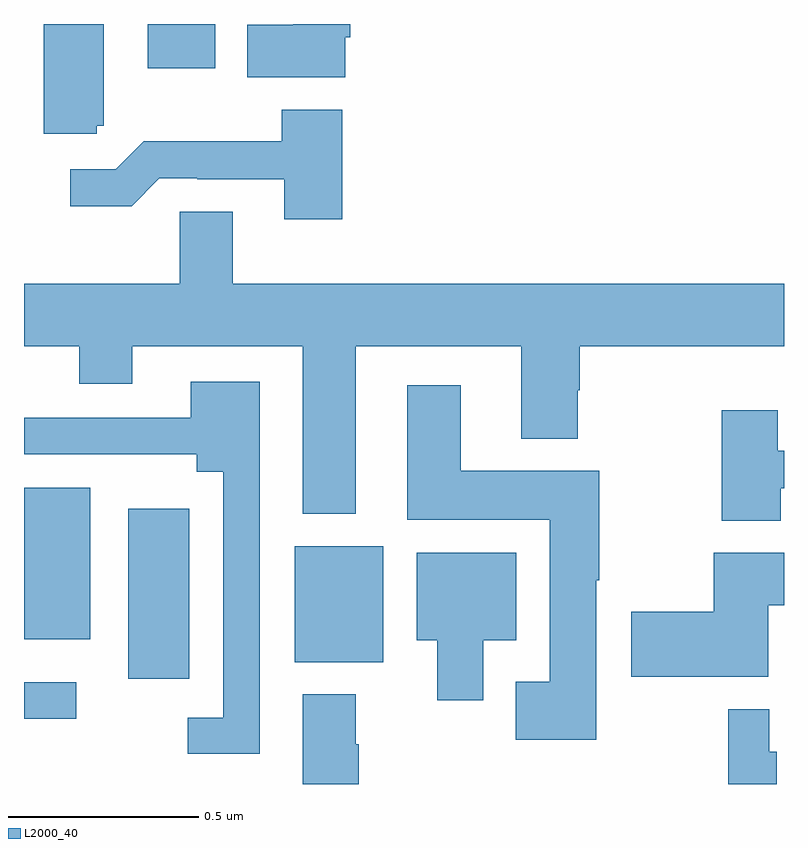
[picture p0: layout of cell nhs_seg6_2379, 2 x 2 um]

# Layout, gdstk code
import gdstk
lib = gdstk.Library(unit=1e-6, precision=1e-09)
def R(c, l, rs):  # rectangles x0, y0, x1, y1
    for r in rs: c.add(gdstk.rectangle(r[:2], r[2:], *l))
def P(c, l, *ps):  # polygons
    for p in ps: c.add(gdstk.Polygon(p, *l))
L2000_40 = (2000, 40)

nhs_seg6_2379 = lib.new_cell('nhs_seg6_2379')
R(nhs_seg6_2379, L2000_40, [(142,963.672,142.138,963.768), (142.274,963.777,142.435,964.225), (142.712,963.821,142.945,964.126), (142,963.881,142.174,964.279), (142.326,965.384,142.503,965.5)])
P(nhs_seg6_2379, L2000_40, [(142.846,965.465),(142.859,965.465),(142.859,965.5),(142.709,965.5),(142.709,965.498),(142.588,965.498),(142.588,965.36),(142.846,965.36)],
  [(142.191,965.232),(142.21,965.232),(142.21,965.5),(142.052,965.5),(142.052,965.211),(142.191,965.211)],
  [(142.838,965.275),(142.678,965.275),(142.678,965.191),(142.315,965.191),(142.242,965.118),(142.122,965.118),(142.122,965.021),(142.283,965.021),(142.356,965.094),(142.456,965.094),(142.456,965.091),(142.685,965.091),(142.685,964.986),(142.838,964.986)],
  [(142.873,964.652),(143.309,964.652),(143.309,964.409),(143.457,964.409),(143.457,964.536),(143.462,964.536),(143.462,964.652),(144,964.652),(144,964.816),(142.549,964.816),(142.549,965.006),(142.41,965.006),(142.41,964.816),(142,964.816),(142,964.652),(142.145,964.652),(142.145,964.553),(142.285,964.553),(142.285,964.652),(142.733,964.652),(142.733,964.211),(142.873,964.211)],
  [(142.62,964.558),(142.439,964.558),(142.439,964.464),(142,964.464),(142,964.368),(142.454,964.368),(142.454,964.322),(142.524,964.322),(142.524,963.675),(142.431,963.675),(142.431,963.579),(142.62,963.579)],
  [(143.506,964.036),(143.514,964.036),(143.514,964.324),(143.149,964.324),(143.149,964.549),(143.009,964.549),(143.009,964.196),(143.384,964.196),(143.384,963.769),(143.294,963.769),(143.294,963.617),(143.506,963.617)],
  [(143.991,964.278),(144,964.278),(144,964.377),(143.983,964.377),(143.983,964.483),(143.836,964.483),(143.836,964.193),(143.991,964.193)],
  [(143.959,963.97),(144,963.97),(144,964.108),(143.815,964.108),(143.815,963.953),(143.598,963.953),(143.598,963.782),(143.959,963.782)],
  [(143.209,963.878),(143.296,963.878),(143.296,964.108),(143.033,964.108),(143.033,963.878),(143.087,963.878),(143.087,963.72),(143.209,963.72)],
  [(142.881,963.605),(142.873,963.605),(142.873,963.736),(142.733,963.736),(142.733,963.5),(142.881,963.5)],
  [(143.981,963.585),(143.961,963.585),(143.961,963.697),(143.853,963.697),(143.853,963.5),(143.981,963.5)])

lib.write_gds('nhs_seg6_2379.gds')
